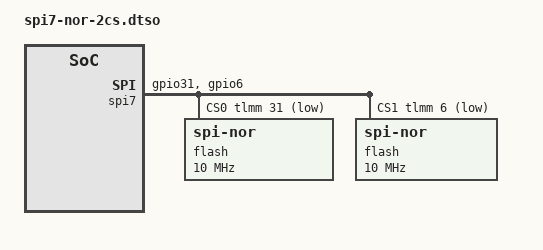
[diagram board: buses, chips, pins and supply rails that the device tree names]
/dts-v1/;
/plugin/;

#include <dt-bindings/gpio/gpio.h>

&tlmm {
	qcs6490_spi7_cs0: qcs6490-spi7-cs0-state {
		pins = "gpio31";
		function = "gpio";
		drive-strength = <2>;
		output-high;
		bias-pull-up;
	};

	qcs6490_spi7_cs1: qcs6490-spi7-cs1-state {
		pins = "gpio6";
		function = "gpio";
		drive-strength = <2>;
		output-high;
		bias-pull-up;
	};
};

&spi7 {
	pinctrl-names = "default";
	pinctrl-0 = <&qup_spi7_data_clk>, <&qcs6490_spi7_cs0>,
		    <&qcs6490_spi7_cs1>;
	cs-gpios = <&tlmm 31 GPIO_ACTIVE_LOW>, <&tlmm 6 GPIO_ACTIVE_LOW>;
	status = "okay";

	flash@0 {
		compatible = "jedec,spi-nor";
		reg = <0>;
		spi-max-frequency = <10000000>;
	};

	flash@1 {
		compatible = "jedec,spi-nor";
		reg = <1>;
		spi-max-frequency = <10000000>;
	};
};
